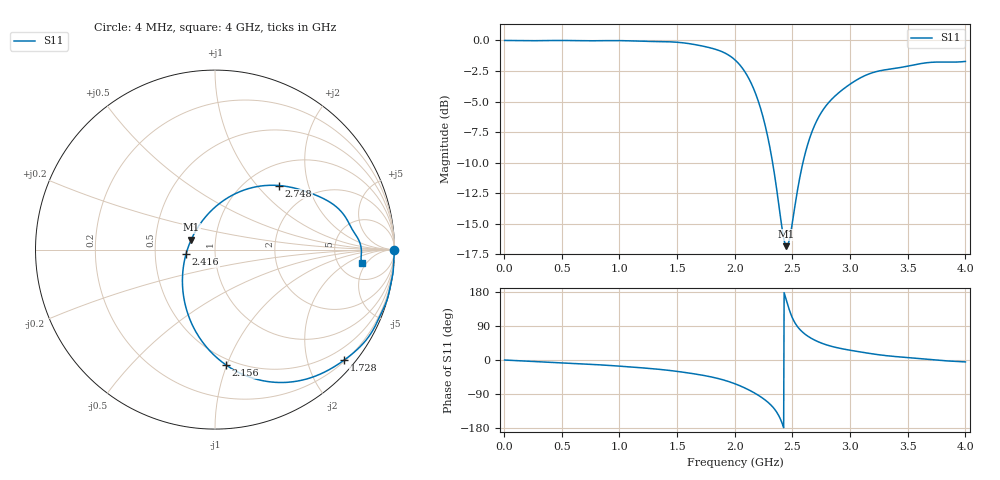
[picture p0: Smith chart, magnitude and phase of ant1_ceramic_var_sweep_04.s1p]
! TOUCHSTONE file generated by CST MICROWAVE STUDIO
! Date and time: Fri May  6 09:22:48 2022
! Project name: ant1_ceramic_sweep_10porcent.cst
! Parameters = {e=0.035; h=1.6; i=0.808; l1=0.5; l2=17; ls=80; wl=1.7; ws=30}
! Header version: 2018
! Port assignment regex: !\s*Touchstone port\s*([0-9]+)\s*=\s*(CST MWS port|CST DS port)\s*([0-9]+|Zmin|Zmax)\s*\(\"(.*)\"\)(\s*mode\s*([0-9]+))?.*
! Touchstone port assignment:
! Touchstone port 1 = CST MWS port 1 ("")
# GHz S DB R 50
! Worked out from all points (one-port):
!   1000 points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, 4 MHz to 4 GHz, reference 50 ohm
!   lowest |S11| = -16.8 dB at 2.448 GHz (marker M1), VSWR 1.34, Z = 38.1 + j4.31 ohm
!   |S11| at or under -10 dB: 2.328 GHz to 2.591 GHz (263.3 MHz wide, 10.7 % of centre)
!   S11 on the Smith chart (normalised r, x): 4 MHz: open; 1.728 GHz: 0.23, -2.69; 2.156 GHz: 0.45, -1.00; 2.416 GHz: 0.72, -0.04; 2.748 GHz: 1.38, +1.32; 4 GHz: 8.46, -3.74
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0.004  -0.00 -0.1
0.504  -0.00 -7.4
1.004  -0.01 -16.3
1.332  -0.09 -24.3
1.504  -0.15 -30.2
1.728  -0.47 -40.6
1.876  -0.87 -50.5
1.94  -1.16 -56.2
2.004  -1.61 -63.0
2.084  -2.51 -73.3
2.156  -3.79 -84.4
2.232  -5.83 -98.6
2.296  -8.35 -113.8
2.356  -11.70 -134.2
2.416  -15.75 -171.4
2.448  -16.85 157.3
2.472  -16.38 133.3
2.504  -14.64 108.3
2.56  -11.42 82.1
2.612  -9.20 67.5
2.676  -7.32 55.1
2.748  -5.94 45.0
2.856  -4.67 34.7
3.004  -3.55 25.6
3.216  -2.58 15.2
3.504  -2.10 6.4
3.7  -1.79 1.1
4  -1.72 -5.1
